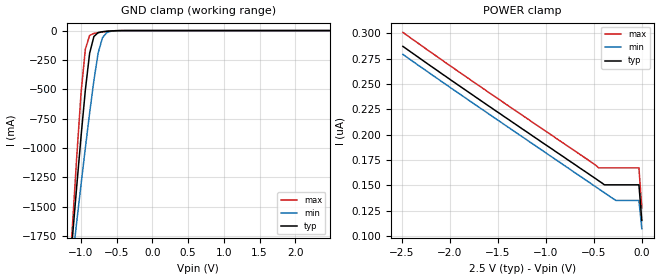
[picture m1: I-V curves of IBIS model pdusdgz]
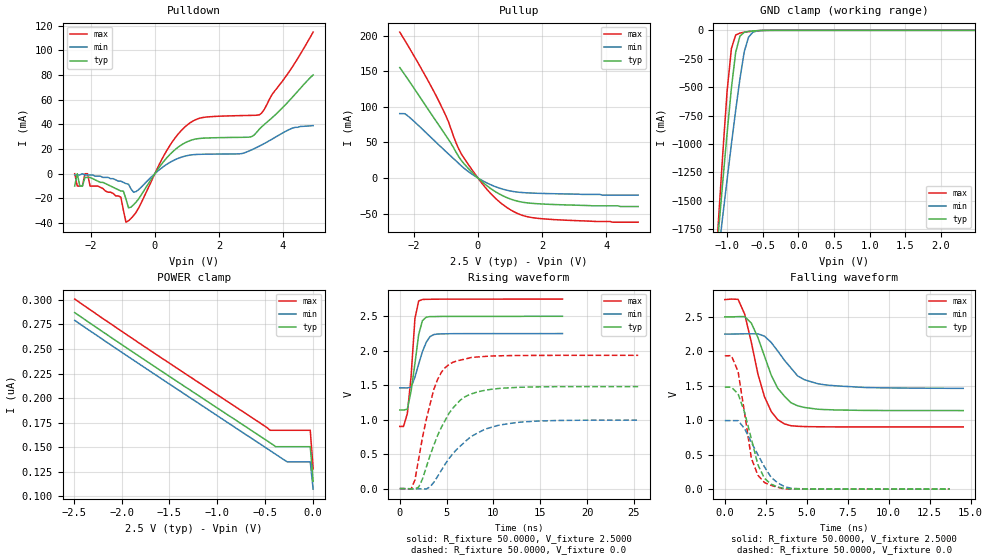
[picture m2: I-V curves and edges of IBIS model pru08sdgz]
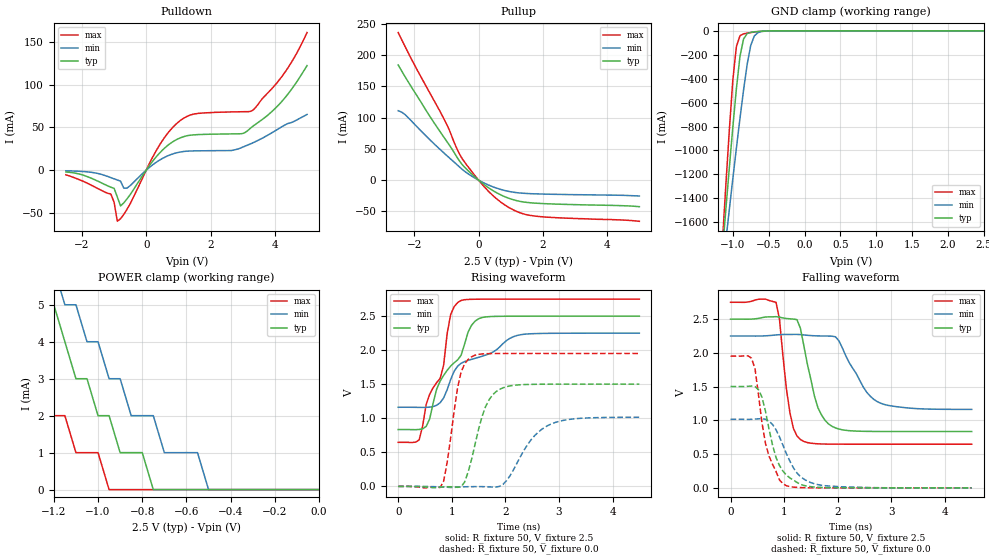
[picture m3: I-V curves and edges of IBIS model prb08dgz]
[IBIS ver]   4.2
[File name]   ksz9031rnx_2v5.ibs
[File rev]   0.3
[Date]   November 28, 2012
[Source]   Made by TSMC 65nm IBIS model file
[Notes]   This model is for DVDDH (IO power) at 2.5V.  For different
   IO voltage, use the appropriate model.
[Disclaimer]  This information is for modeling purpose only and is
   not guaranteed
[Copyright]   Copyright 2012, Micrel - LAN Solutions, All Rights Reserved.
|   Component ksz9031rnx_2v5
[Component]   ksz9031rnx_2v5
[Manufacturer]  Micrel
[Package]
|variable   typical   Min   Max
R_pkg   1.46e-01   1.25e-01   1.67e-01
L_pkg   1.45e-09   1.19e-09   1.72e-09
C_pkg   1.74e-13   1.63e-13   1.85e-13
|   Note:   48 pin MLF package
[pin]   signal_name   model_name   R_pin   L_pin   C_pin
1   AVDDH   POWER
2   TXRXP_A   NC
3   TXRXM_A   NC
4   AVDDL   POWER
5   TXRXP_B   NC
6   TXRXM_B   NC
7   TXRXP_C   NC
8   TXRXM_C   NC
9   AVDDL   POWER
10   TXRXP_D   NC
11   TXRXM_D   NC
12   AVDDH   POWER
13   NC   NC
14   DVDDL   POWER
15   LED2   prb08dgz
16   DVDDH   POWER
17   LED1   prb08dgz
18   DVDDL   POWER
19   TXD0   prb08dgz
20   TXD1   prb08dgz
21   TXD2   prb08dgz
22   TXD3   prb08dgz
23   DVDDL   POWER
24   GTX_CLK   prb08dgz
25   TX_EN   prb08dgz
26   DVDDL   POWER
27   RXD3   prb08dgz
28   RXD2   prb08dgz
29   VSS   GND
30   DVDDL   POWER
31   RXD1   prb08dgz
32   RXD0   prb08dgz
33   RX_DV   prb08dgz
34   DVDDH   POWER
35   RX_CLK   prb08dgz
36   MDC   pru08sdgz
37   MDIO   pru08sdgz
38   INT_N   prb08dgz
39   DVDDL   POWER
40   DVDDH   POWER
41   CLK125_NDO   prb08dgz
42   RESET_N   pdusdgz
43   LDO_O   NC
44   AVDDL_PLL   POWER
45   XO   NC
46   XI   NC
47   NC   NC
48   ISET   NC
| Models and submodels in the file (3): pdusdgz (Input), pru08sdgz (I/O), prb08dgz (I/O)
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|   Model pdusdgz
[Model]  pdusdgz
Model_type Input
Polarity   Non-Inverting
Vinl =   1.0V
Vinh =   1.5V
C_comp   3.5005pF   3.3846pF   3.6189pF
[Temperature Range]   25.0000   0.1250k   -40.0000
[Voltage Range]   2.5000V   2.2500V   2.7500V
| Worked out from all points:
|   GND clamp passes 1 mA (typ) near -0.50 V on its own axis
[GND_clamp]
|Voltage   I(typ)   I(min)   I(max)
-2.5V     -12.48A    -9.705A    -16.49A
-1.18V    -2.204A    -2.275A    -2.266A
-1.12V    -1.759A    -1.95A     -1.659A
-1.06V    -1.323A    -1.628A    -1.073A
-1V       -902mA     -1.311A    -531.9mA
-940mV    -507.1mA   -1.001A    -159.2mA
-880mV    -193.2mA   -703.6mA   -41.12mA
-820mV    -50.46mA   -424.6mA   -24.11mA
-760mV    -17.22mA   -189mA     -17.35mA
-700mV    -9.678mA   -60.73mA   -11.76mA
-640mV    -5.833mA   -16.86mA   -7.062mA
2.48V     -899.8nA   5.362uA    400nA
[POWER_clamp]
|Voltage   I(typ)   I(min)   I(max)
-2.49V    287nA      279.1nA    300.8nA
-1.62V    229.8nA    222.1nA    243.3nA
-570mV    162.4nA    154.4nA    175.8nA
-450mV    154.6nA    146.7nA    167.3nA
-390mV    150.6nA    142.8nA    167.3nA
-270mV    150.6nA    135.2nA    167.3nA
-30mV     150.6nA    135.2nA    167.3nA
0V        115.5nA    107.4nA    128nA
|   Model pru08sdgz
[Model]  pru08sdgz
Model_type I/O
Polarity   Non-Inverting
Enable   Active-Low
Vinl =   1.0V
Vinh =   1.5V
Vmeas =  1.25V
Cref =   15pF
Rref =   1.0000M
Vref =   0.0V
C_comp   3.2454pF   3.1520pF   3.3605pF
[Temperature Range]   25.0000   0.1250k   -40.0000
[Voltage Range]   2.5000V   2.2500V   2.7500V
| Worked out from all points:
|   slope of the pulldown table from 0 to 0.375 V, typ, clamps not added: 29 ohm
|   slope of the pullup table from 0 to 0.375 V, typ, clamps not added: 26.7 ohm
|   GND clamp passes 1 mA (typ) near -0.50 V on its own axis
|   rising waveform, R_fixture 50.0000, V_fixture 2.5000: 20-80 % time 806ps typ, 1.11ns min, 631ps max; typ from 1.14 V to 2.5 V
|   rising waveform, R_fixture 50.0000, V_fixture 0.0: 20-80 % time 2.98ns typ, 4.02ns min, 1.97ns max; typ from 0.001 V to 1.48 V
|   falling waveform, R_fixture 50.0000, V_fixture 2.5000: 20-80 % time 1.45ns typ, 1.67ns min, 1.18ns max; typ from 2.5 V to 1.14 V
|   falling waveform, R_fixture 50.0000, V_fixture 0.0: 20-80 % time 1.03ns typ, 1.37ns min, 803ps max; typ from 1.48 V to 0.001 V
[Pulldown]
|Voltage   I(typ)   I(min)   I(max)
-2.5V     -10mA      -1mA       0A
-2.42V    0A         -1mA       -10mA
-2.34V    -10mA      -1mA       -10mA
-2.1V     -3mA       -1mA       0A
-2.02V    -3mA       -1mA       -10mA
-1.06V    -14mA      -6mA       -19mA
-900mV    -20.5mA    -8mA       -39.29mA
-820mV    -27.72mA   -8.5mA     -38.13mA
-580mV    -22.88mA   -14.39mA   -31.08mA
860mV     23.84mA    13.66mA    35.93mA
3.26V     36.05mA    22.35mA    47.73mA
4.94V     80.03mA    38.98mA    114.8mA
[Pullup]
|Voltage   I(typ)   I(min)   I(max)
-2.44V    155mA      90.41mA    204.8mA
-2.28V    144.8mA    90.23mA    193mA
-2.2V     139.6mA    87.57mA    187mA
-1.24V    75.44mA    47.26mA    109.6mA
-920mV    54.09mA    33.76mA    78.91mA
-680mV    35.98mA    23.8mA     48.96mA
-520mV    24.73mA    17.11mA    34.03mA
200mV     -7.979mA   -5.127mA   -11.68mA
760mV     -24.6mA    -15.43mA   -36.73mA
1.24V     -32.56mA   -19.8mA    -49.87mA
1.72V     -35.64mA   -21.21mA   -55.75mA
5V        -40mA      -24mA      -62mA
[GND_clamp]
|Voltage   I(typ)   I(min)   I(max)
-2.5V     -12.48A    -9.705A    -16.49A
-1.18V    -2.204A    -2.275A    -2.266A
-1.12V    -1.759A    -1.95A     -1.659A
-1.06V    -1.323A    -1.628A    -1.073A
-1V       -902mA     -1.311A    -531.9mA
-940mV    -507.1mA   -1.001A    -159.2mA
-880mV    -193.2mA   -703.6mA   -41.12mA
-820mV    -50.46mA   -424.6mA   -24.11mA
-760mV    -17.22mA   -189mA     -17.35mA
-700mV    -9.678mA   -60.73mA   -11.76mA
-640mV    -5.833mA   -16.86mA   -7.062mA
2.48V     -899.8nA   6.411uA    400nA
[POWER_clamp]
|Voltage   I(typ)   I(min)   I(max)
-2.49V    287nA      279.1nA    300.8nA
-1.62V    229.8nA    222.1nA    243.3nA
-570mV    162.4nA    154.4nA    175.8nA
-450mV    154.6nA    146.7nA    167.3nA
-390mV    150.6nA    142.8nA    167.3nA
-270mV    150.6nA    135.2nA    167.3nA
-30mV     150.6nA    135.2nA    167.3nA
0V        115.5nA    107.4nA    128nA
[Ramp]
| variable   typ   min   max
dV/dt_r  0.8875/2.9508n   0.5965/3.9773n   1.1598/1.9529n
dV/dt_f  0.8154/1.4323n   0.4728/1.6603n   1.1084/1.1748n
R_load = 50.0000
[Rising Waveform]
R_fixture= 50.0000
V_fixture= 2.5000
V_fixture_min= 2.2500
V_fixture_max= 2.7500
L_fixture= 0.0H
C_fixture= 0.0F
|time   V(typ)   V(min)   V(max)
0s        1.141V     1.462V     902.7mV
400ps     1.14V      1.462V     902.3mV
810ps     1.153V     1.461V     1.089V
1.21ns    1.415V     1.472V     1.628V
1.62ns    1.815V     1.618V     2.468V
2.02ns    2.236V     1.808V     2.722V
2.42ns    2.437V     1.987V     2.744V
3.23ns    2.496V     2.206V     2.747V
3.64ns    2.496V     2.235V     2.748V
17.37ns   2.5V       2.25V      2.75V
|17.78nS   2.5000V   2.2500V   2.7500V
|18.18nS   2.5000V   2.2500V   2.7500V
|18.59nS   2.5000V   2.2500V   2.7500V
|18.99nS   2.5000V   2.2500V   2.7500V
|19.39nS   2.5000V   2.2500V   2.7500V
|19.80nS   2.5000V   2.2500V   2.7500V
|20.20nS   2.5000V   2.2500V   2.7500V
|20.61nS   2.5000V   2.2500V   2.7500V
|21.01nS   2.5000V   2.2500V   2.7500V
|21.41nS   2.5000V   2.2500V   2.7500V
|21.82nS   2.5000V   2.2500V   2.7500V
|22.22nS   2.5000V   2.2500V   2.7500V
|22.63nS   2.5000V   2.2500V   2.7500V
|23.03nS   2.5000V   2.2500V   2.7500V
|23.43nS   2.5000V   2.2500V   2.7500V
|23.84nS   2.5000V   2.2500V   2.7500V
|24.24nS   2.5000V   2.2500V   2.7500V
|24.65nS   2.5000V   2.2500V   2.7500V
|25.05nS   2.5000V   2.2500V   2.7500V
|25.45nS   2.5000V   2.2500V   2.7500V
|25.86nS   2.5000V   2.2500V   2.7500V
|26.26nS   2.5000V   2.2500V   2.7500V
|26.67nS   2.5000V   2.2500V   2.7500V
|27.07nS   2.5000V   2.2500V   2.7500V
|27.47nS   2.5000V   2.2500V   2.7500V
|27.88nS   2.5000V   2.2500V   2.7500V
|28.28nS   2.5000V   2.2500V   2.7500V
|28.69nS   2.5000V   2.2500V   2.7500V
|29.09nS   2.5000V   2.2500V   2.7500V
|29.49nS   2.5000V   2.2500V   2.7500V
|29.90nS   2.5000V   2.2500V   2.7500V
|30.30nS   2.5000V   2.2500V   2.7500V
|30.71nS   2.5000V   2.2500V   2.7500V
|31.11nS   2.5000V   2.2500V   2.7500V
|31.52nS   2.5000V   2.2500V   2.7500V
|31.92nS   2.5000V   2.2500V   2.7500V
|32.32nS   2.5000V   2.2500V   2.7500V
|32.73nS   2.5000V   2.2500V   2.7500V
|33.13nS   2.5000V   2.2500V   2.7500V
|33.54nS   2.5000V   2.2500V   2.7500V
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[Rising Waveform]
R_fixture= 50.0000
V_fixture= 0.0
V_fixture_min= 0.0
V_fixture_max= 0.0
L_fixture= 0.0H
C_fixture= 0.0F
|time   V(typ)   V(min)   V(max)
0s        795.4uV    573uV      1.062mV
1.21ns    -2.764mV   -994.4uV   -7.29mV
1.62ns    -5.467mV   -2.889mV   125.6mV
2.02ns    23.3mV     -2.393mV   430.3mV
3.64ns    632.6mV    92.87mV    1.442V
4.44ns    890.2mV    266.2mV    1.687V
5.66ns    1.167V     505.1mV    1.832V
7.27ns    1.353V     717.7mV    1.89V
10.51ns   1.452V     918.6mV    1.926V
25.45ns   1.48V      994.5mV    1.934V
|25.86nS   1.4800V   0.9945V   1.9340V
|26.26nS   1.4800V   0.9946V   1.9340V
|26.67nS   1.4800V   0.9946V   1.9340V
|27.07nS   1.4810V   0.9946V   1.9340V
|27.47nS   1.4810V   0.9946V   1.9340V
|27.88nS   1.4810V   0.9946V   1.9340V
|28.28nS   1.4810V   0.9946V   1.9340V
|28.69nS   1.4810V   0.9946V   1.9340V
|29.09nS   1.4810V   0.9946V   1.9340V
|29.49nS   1.4810V   0.9946V   1.9340V
|29.90nS   1.4810V   0.9947V   1.9340V
|30.30nS   1.4810V   0.9947V   1.9340V
|30.71nS   1.4810V   0.9947V   1.9340V
|31.11nS   1.4810V   0.9947V   1.9340V
|31.52nS   1.4810V   0.9947V   1.9340V
|31.92nS   1.4810V   0.9947V   1.9340V
|32.32nS   1.4810V   0.9947V   1.9340V
|32.73nS   1.4810V   0.9947V   1.9340V
|33.13nS   1.4800V   0.9947V   1.9340V
|33.54nS   1.4800V   0.9947V   1.9340V
|33.94nS   1.4800V   0.9947V   1.9340V
|34.34nS   1.4800V   0.9947V   1.9340V
|34.75nS   1.4800V   0.9947V   1.9340V
|35.15nS   1.4800V   0.9947V   1.9340V
|35.56nS   1.4800V   0.9947V   1.9340V
|35.96nS   1.4800V   0.9947V   1.9340V
|36.36nS   1.4800V   0.9947V   1.9340V
|36.77nS   1.4800V   0.9947V   1.9340V
|37.17nS   1.4800V   0.9947V   1.9340V
|37.58nS   1.4800V   0.9947V   1.9340V
|37.98nS   1.4800V   0.9947V   1.9340V
|38.38nS   1.4800V   0.9947V   1.9340V
|38.79nS   1.4800V   0.9947V   1.9340V
|39.19nS   1.4800V   0.9947V   1.9340V
|39.60nS   1.4800V   0.9947V   1.9340V
|40.00nS   1.4800V   0.9947V   1.9340V
[Falling Waveform]
R_fixture= 50.0000
V_fixture= 2.5000
V_fixture_min= 2.2500
V_fixture_max= 2.7500
L_fixture= 0.0H
C_fixture= 0.0F
|time   V(typ)   V(min)   V(max)
0s        2.5V       2.25V      2.75V
810ps     2.503V     2.252V     2.754V
1.21ns    2.504V     2.254V     2.541V
1.62ns    2.408V     2.254V     2.129V
2.42ns    1.931V     2.22V      1.342V
2.83ns    1.655V     2.129V     1.128V
3.64ns    1.349V     1.87V      947.1mV
4.44ns    1.21V      1.644V     912.5mV
6.06ns    1.155V     1.515V     904.6mV
14.55ns   1.14V      1.463V     902.7mV
|14.95nS   1.1400V   1.4630V   0.9027V
|15.35nS   1.1400V   1.4630V   0.9027V
|15.76nS   1.1410V   1.4630V   0.9027V
|16.16nS   1.1410V   1.4630V   0.9027V
|16.57nS   1.1410V   1.4630V   0.9027V
|16.97nS   1.1410V   1.4630V   0.9027V
|17.37nS   1.1410V   1.4630V   0.9027V
|17.78nS   1.1410V   1.4630V   0.9027V
|18.18nS   1.1410V   1.4630V   0.9027V
|18.59nS   1.1400V   1.4630V   0.9027V
|18.99nS   1.1400V   1.4630V   0.9027V
|19.39nS   1.1400V   1.4630V   0.9027V
|19.80nS   1.1400V   1.4630V   0.9027V
|20.20nS   1.1410V   1.4630V   0.9027V
|20.61nS   1.1410V   1.4630V   0.9027V
|21.01nS   1.1410V   1.4630V   0.9027V
|21.41nS   1.1410V   1.4630V   0.9027V
|21.82nS   1.1410V   1.4620V   0.9027V
|22.22nS   1.1400V   1.4620V   0.9027V
|22.63nS   1.1400V   1.4620V   0.9027V
|23.03nS   1.1400V   1.4620V   0.9027V
|23.43nS   1.1400V   1.4620V   0.9027V
|23.84nS   1.1410V   1.4620V   0.9027V
|24.24nS   1.1410V   1.4620V   0.9027V
|24.65nS   1.1410V   1.4620V   0.9027V
|25.05nS   1.1410V   1.4620V   0.9027V
|25.45nS   1.1410V   1.4620V   0.9027V
|25.86nS   1.1410V   1.4620V   0.9027V
|26.26nS   1.1400V   1.4620V   0.9027V
|26.67nS   1.1400V   1.4620V   0.9027V
|27.07nS   1.1400V   1.4620V   0.9027V
|27.47nS   1.1400V   1.4620V   0.9027V
|27.88nS   1.1410V   1.4620V   0.9027V
|28.28nS   1.1410V   1.4620V   0.9027V
|28.69nS   1.1410V   1.4620V   0.9027V
|29.09nS   1.1410V   1.4620V   0.9027V
|29.49nS   1.1410V   1.4620V   0.9027V
|29.90nS   1.1410V   1.4620V   0.9027V
|30.30nS   1.1400V   1.4620V   0.9027V
|30.71nS   1.1400V   1.4620V   0.9027V
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[Falling Waveform]
R_fixture= 50.0000
V_fixture= 0.0
V_fixture_min= 0.0
V_fixture_max= 0.0
L_fixture= 0.0H
C_fixture= 0.0F
|time   V(typ)   V(min)   V(max)
0s        1.481V     994.7mV    1.934V
400ps     1.48V      994.7mV    1.937V
810ps     1.383V     994.4mV    1.708V
1.21ns    1.112V     878.1mV    1.099V
1.62ns    729.6mV    679.8mV    448.5mV
2.02ns    353.8mV    499.1mV    202.1mV
2.42ns    156.8mV    323.4mV    95.98mV
3.23ns    31.07mV    90.85mV    27.46mV
4.04ns    4.612mV    13.16mV    1.326mV
13.74ns   793.9uV    571.3uV    1.06mV
|   Model prb08dgz
[Model]   prb08dgz
Model_type   I/O
Polarity   Non-Inverting
Enable   Active-Low
Vinl =   1.0V
Vinh =   1.5V
Vmeas =  1.25V
Cref =   15pF
Rref =   1.0000M
Vref =   0.0V
C_comp   3.2447pF   3.1514pF   3.3597pF
[Temperature Range]   25.0000   0.1250k   -40.0000
[Voltage Range]   2.5000V   2.2500V   2.7500V
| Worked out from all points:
|   slope of the pulldown table from 0 to 0.375 V, typ, clamps not added: 20.5 ohm
|   slope of the pullup table from 0 to 0.375 V, typ, clamps not added: 26 ohm
|   GND clamp passes 1 mA (typ) near -0.50 V on its own axis
|   POWER clamp passes 1 mA (typ) near -0.80 V on its own axis
|   rising waveform, R_fixture 50, V_fixture 2.5: 20-80 % time 631ps typ, 980ps min, 440ps max; typ from 0.835 V to 2.5 V
|   rising waveform, R_fixture 50, V_fixture 0.0: 20-80 % time 314ps typ, 517ps min, 220ps max; typ from 0 V to 1.5 V
|   falling waveform, R_fixture 50, V_fixture 2.5: 20-80 % time 290ps typ, 474ps min, 187ps max; typ from 2.5 V to 0.835 V
|   falling waveform, R_fixture 50, V_fixture 0.0: 20-80 % time 306ps typ, 382ps min, 270ps max; typ from 1.5 V to 0 V
[Pulldown]
| voltage   I(typ)   I(min)   I(max)
-2.5V     -2.2mA     -800uA     -5.5mA
-1.1V     -20mA      -8.8mA     -28mA
-900mV    -31.5mA    -11.5mA    -59.8mA
-800mV    -41.8mA    -12.9mA    -56.8mA
-600mV    -33.7mA    -21.1mA    -45.9mA
300mV     15.1mA     8.9mA      22.1mA
900mV     34.8mA     19.8mA     52.8mA
1.5V      41.2mA     22.5mA     65.6mA
2.95V     42.5mA     26.1mA     68.2mA
3.3V      50.8mA     31.6mA     69.6mA
4.3V      83.9mA     52.5mA     113.6mA
5V        122.1mA    65mA       160.7mA
[Pullup]
| voltage   I(typ)   I(min)   I(max)
-2.5V     184.2mA    111mA      236mA
-2.3V     166.6mA    105.4mA    214.9mA
-1.6V     108.8mA    68.9mA     147.2mA
-1.05V    66.5mA     42.1mA     95.1mA
-900mV    55.3mA     35.2mA     78.9mA
-700mV    39.1mA     26.1mA     53.2mA
-550mV    27.5mA     19.1mA     37.7mA
100mV     -4.2mA     -2.7mA     -6.2mA
600mV     -21.2mA    -13.4mA    -31.5mA
1.1V      -31.6mA    -19.4mA    -48.1mA
1.7V      -36.6mA    -21.8mA    -57.1mA
5V        -42.4mA    -25.4mA    -65.8mA
[GND_clamp]
| voltage   I(typ)   I(min)   I(max)
-2.5V     -12.45A    -9.675A    -16.42A
-1.15V    -1.881A    -2.038A    -1.813A
-1.1V     -1.512A    -1.768A    -1.315A
-1.05V    -1.152A    -1.5A      -841mA
-1V       -805mA     -1.236A    -411mA
-950mV    -482mA     -979mA     -130mA
-900mV    -212mA     -730mA     -41mA
-850mV    -68mA      -494mA     -25mA
-800mV    -23mA      -280mA     -19mA
-750mV    -13mA      -121mA     -15mA
-650mV    -6mA       -15mA      -7mA
2.5V      0A         0A         0A
[POWER_clamp]
| voltage   I(typ)   I(min)   I(max)
-2.5V     32mA       30mA       34mA
-1.35V    7mA        8mA        5mA
-1.2V     5mA        6mA        2mA
-1.15V    4mA        5mA        2mA
-1.1V     3mA        5mA        1mA
-850mV    1mA        2mA        0A
-800mV    1mA        2mA        0A
-750mV    0A         2mA        0A
-700mV    0A         1mA        0A
-550mV    0A         1mA        0A
-500mV    0A         0A         0A
0V        0A         0A         0A
[Ramp]
| variable   typ   min   max
dV/dt_r   0.999/625.00p   0.653/979.73p   1.262/440.21p
dV/dt_f   0.999/288.73p   0.652/471.31p   1.262/182.76p
R_load = 50
[Rising Waveform]
R_fixture = 50
V_fixture = 2.5
V_fixture_min = 2.25
V_fixture_max = 2.75
L_fixture = 0.0H
C_fixture = 0.0F
| time   V(typ)   V(Min)   V(max)
0s        834.9mV    1.162V     647mV
391ps     835.8mV    1.16V      684.6mV
522ps     881.4mV    1.161V     1.204V
848ps     1.631V     1.3V       1.783V
978ps     1.766V     1.567V     2.522V
1.174ns   1.927V     1.808V     2.731V
1.37ns    2.368V     1.866V     2.747V
1.565ns   2.48V      1.911V     2.749V
2.283ns   2.499V     2.227V     2.75V
4.5ns     2.5V       2.25V      2.75V
[Rising Waveform]
R_fixture = 50
V_fixture = 0.0
V_fixture_min = 0.0
V_fixture_max = 0.0
L_fixture = 0.0H
C_fixture = 0.0F
| time   V(typ)   V(Min)   V(max)
0s        0V         0V         0V
783ps     -10.1mV    -7mV       -15.7mV
913ps     -5.2mV     -12.1mV    351.6mV
1.174ns   -6.9mV     -7.4mV     1.68V
1.37ns    400mV      -3.9mV     1.904V
1.63ns    1.171V     -4.7mV     1.948V
1.957ns   1.448V     30.8mV     1.952V
2.478ns   1.498V     683.5mV    1.953V
2.804ns   1.501V     898.5mV    1.953V
4.5ns     1.502V     1.015V     1.953V
[Falling Waveform]
R_fixture = 50
V_fixture = 2.5
V_fixture_min = 2.25
V_fixture_max = 2.75
| time   V(typ)   V(Min)   V(max)
0s        2.5V       2.25V      2.75V
848ps     2.537V     2.266V     2.75V
913ps     2.529V     2.27V      2.502V
1.043ns   2.51V      2.273V     1.463V
1.109ns   2.505V     2.273V     1.108V
1.304ns   2.365V     2.271V     715.9mV
1.63ns    1.189V     2.252V     652.7mV
1.891ns   913.2mV    2.248V     647.8mV
2.739ns   835.8mV    1.277V     647mV
4.5ns     834.9mV    1.163V     647mV
[Falling Waveform]
R_fixture = 50
V_fixture = 0.0
V_fixture_min = 0.0
V_fixture_max = 0.0
| time   V(typ)   V(Min)   V(max)
0s        1.502V     1.016V     1.953V
391ps     1.509V     1.016V     1.922V
457ps     1.5V       1.02V      1.764V
587ps     1.343V     1.025V     960.6mV
652ps     1.135V     1.016V     657.1mV
848ps     451.7mV    862mV      244.5mV
1.043ns   187.9mV    506.1mV    31.4mV
1.304ns   51.7mV     166.9mV    4.2mV
1.63ns    8.6mV      47.7mV     400uV
4.5ns     0V         0V         0V
